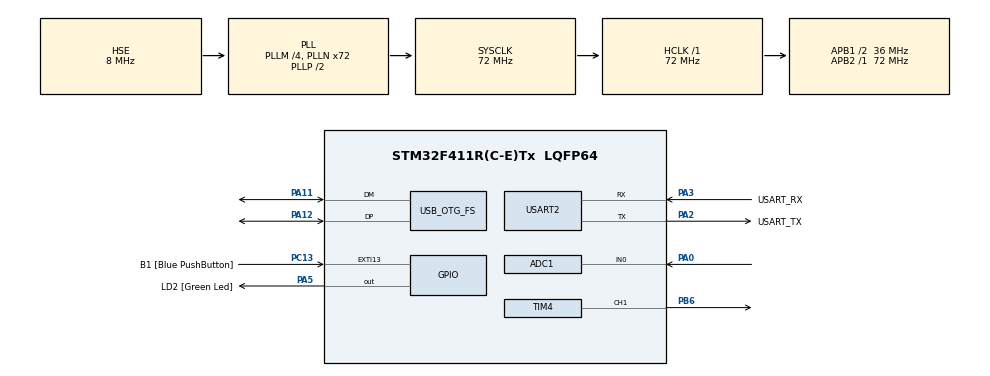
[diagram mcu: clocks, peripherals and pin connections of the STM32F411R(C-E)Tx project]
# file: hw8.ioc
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ADC1.Channel-0\#ChannelRegularConversion=ADC_CHANNEL_0
ADC1.ContinuousConvMode=DISABLE
ADC1.EOCSelection=ADC_EOC_SINGLE_CONV
ADC1.ExternalTrigConv=ADC_EXTERNALTRIGCONV_T2_TRGO
ADC1.ExternalTrigConvEdge=ADC_EXTERNALTRIGCONVEDGE_RISINGFALLING
ADC1.NbrOfConversionFlag=1
ADC1.Rank-0\#ChannelRegularConversion=1
ADC1.SamplingTime-0\#ChannelRegularConversion=ADC_SAMPLETIME_3CYCLES
ADC1.master=1
FATFS._FS_LOCK=2
FATFS._USE_STRFUNC=1
Mcu.Family=STM32F4
Mcu.Name=STM32F411R(C-E)Tx
Mcu.Package=LQFP64
NVIC.ADC_IRQn=true\:1\:0\:true\:false\:true\:true\:true\:true
NVIC.OTG_FS_IRQn=true\:0\:0\:false\:false\:true\:false\:true\:true
NVIC.PriorityGroup=NVIC_PRIORITYGROUP_1
PA0-WKUP.Signal=ADCx_IN0
PA11.Mode=Device_Only
PA11.Signal=USB_OTG_FS_DM
PA12.Mode=Device_Only
PA12.Signal=USB_OTG_FS_DP
PA13.GPIO_Label=TMS
PA13.Signal=SYS_JTMS-SWDIO
PA14.GPIO_Label=TCK
PA14.Signal=SYS_JTCK-SWCLK
PA2.GPIO_Label=USART_TX
PA2.Mode=Asynchronous
PA2.Signal=USART2_TX
PA3.GPIO_Label=USART_RX
PA3.Mode=Asynchronous
PA3.Signal=USART2_RX
PA5.GPIO_Label=LD2 [Green Led]
PA5.Signal=GPIO_Output
PB3.GPIO_Label=SWO
PB3.Signal=SYS_JTDO-SWO
PB6.Signal=S_TIM4_CH1
PC13-ANTI_TAMP.GPIO_Label=B1 [Blue PushButton]
PC13-ANTI_TAMP.GPIO_ModeDefaultEXTI=GPIO_MODE_IT_FALLING
PC13-ANTI_TAMP.Signal=GPXTI13
PC14-OSC32_IN.Mode=LSE-External-Oscillator
PC14-OSC32_IN.Signal=RCC_OSC32_IN
PC15-OSC32_OUT.Mode=LSE-External-Oscillator
PC15-OSC32_OUT.Signal=RCC_OSC32_OUT
PH0\ -\ OSC_IN.Mode=HSE-External-Clock-Source
PH0\ -\ OSC_IN.Signal=RCC_OSC_IN
PH1\ -\ OSC_OUT.Mode=HSE-External-Clock-Source
PH1\ -\ OSC_OUT.Signal=RCC_OSC_OUT
ProjectManager.HeapSize=0x200
ProjectManager.StackSize=0x400
ProjectManager.TargetToolchain=STM32CubeIDE
RCC.48MHZClocksFreq_Value=48000000
RCC.AHBFreq_Value=72000000
RCC.APB1CLKDivider=RCC_HCLK_DIV2
RCC.APB1Freq_Value=36000000
RCC.APB1TimFreq_Value=72000000
RCC.APB2Freq_Value=72000000
RCC.APB2TimFreq_Value=72000000
RCC.CortexFreq_Value=72000000
RCC.FLatency-AdvancedSettings=FLASH_LATENCY_2
RCC.HCLKFreq_Value=72000000
RCC.HSE_VALUE=8000000
RCC.HSI_VALUE=16000000
RCC.PLLM=4
RCC.PLLN=72
RCC.PLLQ=3
RCC.SYSCLKFreq_VALUE=72000000
RCC.SYSCLKSource=RCC_SYSCLKSOURCE_PLLCLK
RCC.VCOOutputFreq_Value=144000000
SH.ADCx_IN0.0=ADC1_IN0,IN0
SH.S_TIM4_CH1.0=TIM4_CH1,PWM Generation1 CH1
TIM2.Period=100-1
TIM2.Prescaler=72-1
TIM2.TIM_MasterOutputTrigger=TIM_TRGO_UPDATE
TIM2.TIM_MasterSlaveMode=TIM_MASTERSLAVEMODE_ENABLE
TIM4.Channel-PWM\ Generation1\ CH1=TIM_CHANNEL_1
TIM4.Period=1000-1
TIM4.Prescaler=719-1
TIM5.Prescaler=72-1
USART2.VirtualMode=VM_ASYNC
USB_DEVICE.CLASS_NAME_FS=MSC
USB_DEVICE.USBD_DEBUG_LEVEL=0
USB_DEVICE.VirtualMode=Msc
USB_DEVICE.VirtualModeFS=Msc_FS
USB_OTG_FS.VirtualMode=Device_Only
VP_FATFS_VS_Generic.Mode=User_defined
VP_TIM2_VS_ClockSourceINT.Mode=Internal
VP_TIM5_VS_ClockSourceINT.Mode=Internal
VP_USB_DEVICE_VS_USB_DEVICE_MSC_FS.Mode=MSC_FS
board=NUCLEO-F411RE

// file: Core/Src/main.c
/* USER CODE BEGIN Header */
/**
 ******************************************************************************
 * @file           : main.c
 * @brief          : Main program body
 ******************************************************************************
 * @attention
 *
 * Copyright (c) 2025 STMicroelectronics.
 * All rights reserved.
 *
 * This software is licensed under terms that can be found in the LICENSE file
 * in the root directory of this software component.
 * If no LICENSE file comes with this software, it is provided AS-IS.
 *
 ******************************************************************************
 */
/* USER CODE END Header */
#include "main.h"
#include "fatfs.h"
#include "usb_device.h"

/* USER CODE BEGIN Includes */
// ============================================================================
#include "ramdisk.h"
#include "csv_logger.h"
#include <stdio.h>
#include <string.h>
#include <stdbool.h>
// ============================================================================
/* USER CODE END Includes */

ADC_HandleTypeDef hadc1;

TIM_HandleTypeDef htim2;
TIM_HandleTypeDef htim4;
TIM_HandleTypeDef htim5;

UART_HandleTypeDef huart2;

/* USER CODE BEGIN PV */
// ============================================================================
uint16_t adc_value = 0;
volatile uint8_t adc_data_ready = 0;
volatile uint32_t adc_timestamp = 0;
// ============================================================================
/* USER CODE END PV */

void SystemClock_Config(void);
static void MX_GPIO_Init(void);
static void MX_ADC1_Init(void);
static void MX_TIM4_Init(void);
static void MX_USART2_UART_Init(void);
static void MX_TIM2_Init(void);
static void MX_TIM5_Init(void);

int main(void) {

	/* MCU Configuration--------------------------------------------------------*/

	/* Reset of all peripherals, Initializes the Flash interface and the Systick. */
	HAL_Init();

	/* Configure the system clock */
	SystemClock_Config();

	/* Initialize all configured peripherals */
	MX_GPIO_Init();
	MX_FATFS_Init();
	MX_USB_DEVICE_Init();
	MX_ADC1_Init();
	MX_TIM4_Init();
	MX_USART2_UART_Init();
	MX_TIM2_Init();
	MX_TIM5_Init();
	/* USER CODE BEGIN 2 */
	// ========================================================================
	// FATFS. Копируем в ОЗУ область флеш-памяти с файловой системой FAT
	memcpy(ramdisk, (uint8_t*) 0x8060000, SECTORS * SECTOR_SIZE);
	FRESULT fr = -1;

	// Монтируем файловую систему из ОЗУ
	fr = f_mount(&USERFatFS, USERPath, 1);
	if (fr != FR_OK) {
		Error_Handler();
	}

	// --------------------------------
	HAL_TIM_PWM_Start(&htim4, TIM_CHANNEL_1);	// Запускаем  PWM
	HAL_TIM_Base_Start(&htim2); // Запускаем TIM2 - будет генерировать TRGO каждые 100 мкс
	HAL_ADC_Start_IT(&hadc1); // Запускаем ADC с прерываниями, ждём триггер от TIM2
	HAL_TIM_Base_Start(&htim5); // ЗАПУСКАЕМ ТАЙМЕР ТИМ5 - временнЫе метки
	// --------------------------------

	// Устанавливаем ШИМ на 50%
	__HAL_TIM_SET_COMPARE(&htim4, TIM_CHANNEL_1, 500);

	// Инициализируем CSV файл (создаем если нет, очищаем если есть)
	csv_logger_init();

	// ========================================================================
	/* USER CODE END 2 */

	/* Infinite loop */
	/* USER CODE BEGIN WHILE */
	while (1) {
		// ====================================================================
		if (adc_data_ready) {
			uint16_t adc_raw = HAL_ADC_GetValue(&hadc1); // Читаем сырое значение ADC
			uint16_t adc_mv = adc_raw * 3300 / 4095;      // Конвертируем в мВ

			// Вычисляем delta
			static uint32_t previous_timestamp = 0;
			uint32_t delta = 0;
			if (previous_timestamp != 0) {
				delta = adc_timestamp - previous_timestamp;
			}
			previous_timestamp = adc_timestamp;

			csv_logger_write_timestamp(adc_timestamp, adc_mv, delta);

			adc_data_ready = 0;
		}

		if (buffer_index >= 1000) {
			csv_logger_flush();
		}
		// ====================================================================
		/* USER CODE END WHILE */

	}
}

void SystemClock_Config(void) {
	RCC_OscInitTypeDef RCC_OscInitStruct = { 0 };
	RCC_ClkInitTypeDef RCC_ClkInitStruct = { 0 };

	/** Configure the main internal regulator output voltage
	 */
	__HAL_RCC_PWR_CLK_ENABLE();
	__HAL_PWR_VOLTAGESCALING_CONFIG(PWR_REGULATOR_VOLTAGE_SCALE1);

	/** Initializes the RCC Oscillators according to the specified parameters
	 * in the RCC_OscInitTypeDef structure.
	 */
	RCC_OscInitStruct.OscillatorType = RCC_OSCILLATORTYPE_HSE;
	RCC_OscInitStruct.HSEState = RCC_HSE_BYPASS;
	RCC_OscInitStruct.PLL.PLLState = RCC_PLL_ON;
	RCC_OscInitStruct.PLL.PLLSource = RCC_PLLSOURCE_HSE;
	RCC_OscInitStruct.PLL.PLLM = 4;
	RCC_OscInitStruct.PLL.PLLN = 72;
	RCC_OscInitStruct.PLL.PLLP = RCC_PLLP_DIV2;
	RCC_OscInitStruct.PLL.PLLQ = 3;
	if (HAL_RCC_OscConfig(&RCC_OscInitStruct) != HAL_OK) {
		Error_Handler();
	}

	/** Initializes the CPU, AHB and APB buses clocks
	 */
	RCC_ClkInitStruct.ClockType = RCC_CLOCKTYPE_HCLK | RCC_CLOCKTYPE_SYSCLK
			| RCC_CLOCKTYPE_PCLK1 | RCC_CLOCKTYPE_PCLK2;
	RCC_ClkInitStruct.SYSCLKSource = RCC_SYSCLKSOURCE_PLLCLK;
	RCC_ClkInitStruct.AHBCLKDivider = RCC_SYSCLK_DIV1;
	RCC_ClkInitStruct.APB1CLKDivider = RCC_HCLK_DIV2;
	RCC_ClkInitStruct.APB2CLKDivider = RCC_HCLK_DIV1;

	if (HAL_RCC_ClockConfig(&RCC_ClkInitStruct, FLASH_LATENCY_2) != HAL_OK) {
		Error_Handler();
	}
}

static void MX_ADC1_Init(void) {

	ADC_ChannelConfTypeDef sConfig = { 0 };

	/** Configure the global features of the ADC (Clock, Resolution, Data Alignment and number of conversion)
	 */
	hadc1.Instance = ADC1;
	hadc1.Init.ClockPrescaler = ADC_CLOCK_SYNC_PCLK_DIV2;
	hadc1.Init.Resolution = ADC_RESOLUTION_12B;
	hadc1.Init.ScanConvMode = DISABLE;
	hadc1.Init.ContinuousConvMode = DISABLE;
	hadc1.Init.DiscontinuousConvMode = DISABLE;
	hadc1.Init.ExternalTrigConvEdge = ADC_EXTERNALTRIGCONVEDGE_RISINGFALLING;
	hadc1.Init.ExternalTrigConv = ADC_EXTERNALTRIGCONV_T2_TRGO;
	hadc1.Init.DataAlign = ADC_DATAALIGN_RIGHT;
	hadc1.Init.NbrOfConversion = 1;
	hadc1.Init.DMAContinuousRequests = DISABLE;
	hadc1.Init.EOCSelection = ADC_EOC_SINGLE_CONV;
	if (HAL_ADC_Init(&hadc1) != HAL_OK) {
		Error_Handler();
	}

	/** Configure for the selected ADC regular channel its corresponding rank in the sequencer and its sample time.
	 */
	sConfig.Channel = ADC_CHANNEL_0;
	sConfig.Rank = 1;
	sConfig.SamplingTime = ADC_SAMPLETIME_3CYCLES;
	if (HAL_ADC_ConfigChannel(&hadc1, &sConfig) != HAL_OK) {
		Error_Handler();
	}

}

static void MX_TIM2_Init(void) {

	TIM_ClockConfigTypeDef sClockSourceConfig = { 0 };
	TIM_MasterConfigTypeDef sMasterConfig = { 0 };

	htim2.Instance = TIM2;
	htim2.Init.Prescaler = 72 - 1;
	htim2.Init.CounterMode = TIM_COUNTERMODE_UP;
	htim2.Init.Period = 100 - 1;
	htim2.Init.ClockDivision = TIM_CLOCKDIVISION_DIV1;
	htim2.Init.AutoReloadPreload = TIM_AUTORELOAD_PRELOAD_DISABLE;
	if (HAL_TIM_Base_Init(&htim2) != HAL_OK) {
		Error_Handler();
	}
	sClockSourceConfig.ClockSource = TIM_CLOCKSOURCE_INTERNAL;
	if (HAL_TIM_ConfigClockSource(&htim2, &sClockSourceConfig) != HAL_OK) {
		Error_Handler();
	}
	sMasterConfig.MasterOutputTrigger = TIM_TRGO_UPDATE;
	sMasterConfig.MasterSlaveMode = TIM_MASTERSLAVEMODE_ENABLE;
	if (HAL_TIMEx_MasterConfigSynchronization(&htim2, &sMasterConfig)
			!= HAL_OK) {
		Error_Handler();
	}

}

static void MX_TIM4_Init(void) {

	TIM_MasterConfigTypeDef sMasterConfig = { 0 };
	TIM_OC_InitTypeDef sConfigOC = { 0 };

	htim4.Instance = TIM4;
	htim4.Init.Prescaler = 719 - 1;
	htim4.Init.CounterMode = TIM_COUNTERMODE_UP;
	htim4.Init.Period = 1000 - 1;
	htim4.Init.ClockDivision = TIM_CLOCKDIVISION_DIV1;
	htim4.Init.AutoReloadPreload = TIM_AUTORELOAD_PRELOAD_DISABLE;
	if (HAL_TIM_PWM_Init(&htim4) != HAL_OK) {
		Error_Handler();
	}
	sMasterConfig.MasterOutputTrigger = TIM_TRGO_RESET;
	sMasterConfig.MasterSlaveMode = TIM_MASTERSLAVEMODE_DISABLE;
	if (HAL_TIMEx_MasterConfigSynchronization(&htim4, &sMasterConfig)
			!= HAL_OK) {
		Error_Handler();
	}
	sConfigOC.OCMode = TIM_OCMODE_PWM1;
	sConfigOC.Pulse = 0;
	sConfigOC.OCPolarity = TIM_OCPOLARITY_HIGH;
	sConfigOC.OCFastMode = TIM_OCFAST_DISABLE;
	if (HAL_TIM_PWM_ConfigChannel(&htim4, &sConfigOC, TIM_CHANNEL_1)
			!= HAL_OK) {
		Error_Handler();
	}
	HAL_TIM_MspPostInit(&htim4);

}

static void MX_TIM5_Init(void) {

	TIM_ClockConfigTypeDef sClockSourceConfig = { 0 };
	TIM_MasterConfigTypeDef sMasterConfig = { 0 };

	htim5.Instance = TIM5;
	htim5.Init.Prescaler = 72 - 1;
	htim5.Init.CounterMode = TIM_COUNTERMODE_UP;
	htim5.Init.Period = 4294967295;
	htim5.Init.ClockDivision = TIM_CLOCKDIVISION_DIV1;
	htim5.Init.AutoReloadPreload = TIM_AUTORELOAD_PRELOAD_DISABLE;
	if (HAL_TIM_Base_Init(&htim5) != HAL_OK) {
		Error_Handler();
	}
	sClockSourceConfig.ClockSource = TIM_CLOCKSOURCE_INTERNAL;
	if (HAL_TIM_ConfigClockSource(&htim5, &sClockSourceConfig) != HAL_OK) {
		Error_Handler();
	}
	sMasterConfig.MasterOutputTrigger = TIM_TRGO_RESET;
	sMasterConfig.MasterSlaveMode = TIM_MASTERSLAVEMODE_DISABLE;
	if (HAL_TIMEx_MasterConfigSynchronization(&htim5, &sMasterConfig)
			!= HAL_OK) {
		Error_Handler();
	}

}

static void MX_USART2_UART_Init(void) {

	huart2.Instance = USART2;
	huart2.Init.BaudRate = 115200;
	huart2.Init.WordLength = UART_WORDLENGTH_8B;
	huart2.Init.StopBits = UART_STOPBITS_1;
	huart2.Init.Parity = UART_PARITY_NONE;
	huart2.Init.Mode = UART_MODE_TX_RX;
	huart2.Init.HwFlowCtl = UART_HWCONTROL_NONE;
	huart2.Init.OverSampling = UART_OVERSAMPLING_16;
	if (HAL_UART_Init(&huart2) != HAL_OK) {
		Error_Handler();
	}

}

static void MX_GPIO_Init(void) {
	GPIO_InitTypeDef GPIO_InitStruct = { 0 };

	/* GPIO Ports Clock Enable */
	__HAL_RCC_GPIOC_CLK_ENABLE();
	__HAL_RCC_GPIOH_CLK_ENABLE();
	__HAL_RCC_GPIOA_CLK_ENABLE();
	__HAL_RCC_GPIOB_CLK_ENABLE();

	/*Configure GPIO pin Output Level */
	HAL_GPIO_WritePin(LD2_GPIO_Port, LD2_Pin, GPIO_PIN_RESET);

	/*Configure GPIO pin : B1_Pin */
	GPIO_InitStruct.Pin = B1_Pin;
	GPIO_InitStruct.Mode = GPIO_MODE_IT_FALLING;
	GPIO_InitStruct.Pull = GPIO_NOPULL;
	HAL_GPIO_Init(B1_GPIO_Port, &GPIO_InitStruct);

	/*Configure GPIO pin : LD2_Pin */
	GPIO_InitStruct.Pin = LD2_Pin;
	GPIO_InitStruct.Mode = GPIO_MODE_OUTPUT_PP;
	GPIO_InitStruct.Pull = GPIO_NOPULL;
	GPIO_InitStruct.Speed = GPIO_SPEED_FREQ_LOW;
	HAL_GPIO_Init(LD2_GPIO_Port, &GPIO_InitStruct);

}

/* USER CODE BEGIN 4 */

void HAL_ADC_ConvCpltCallback(ADC_HandleTypeDef *hadc) {
	// Читаем TIM5->CNT сразу после завершения преобразования
	adc_timestamp = TIM5->CNT;
	adc_data_ready = 1;
}

/* USER CODE END 4 */

void Error_Handler(void) {
	__disable_irq();
	while (1) {
	}
}
